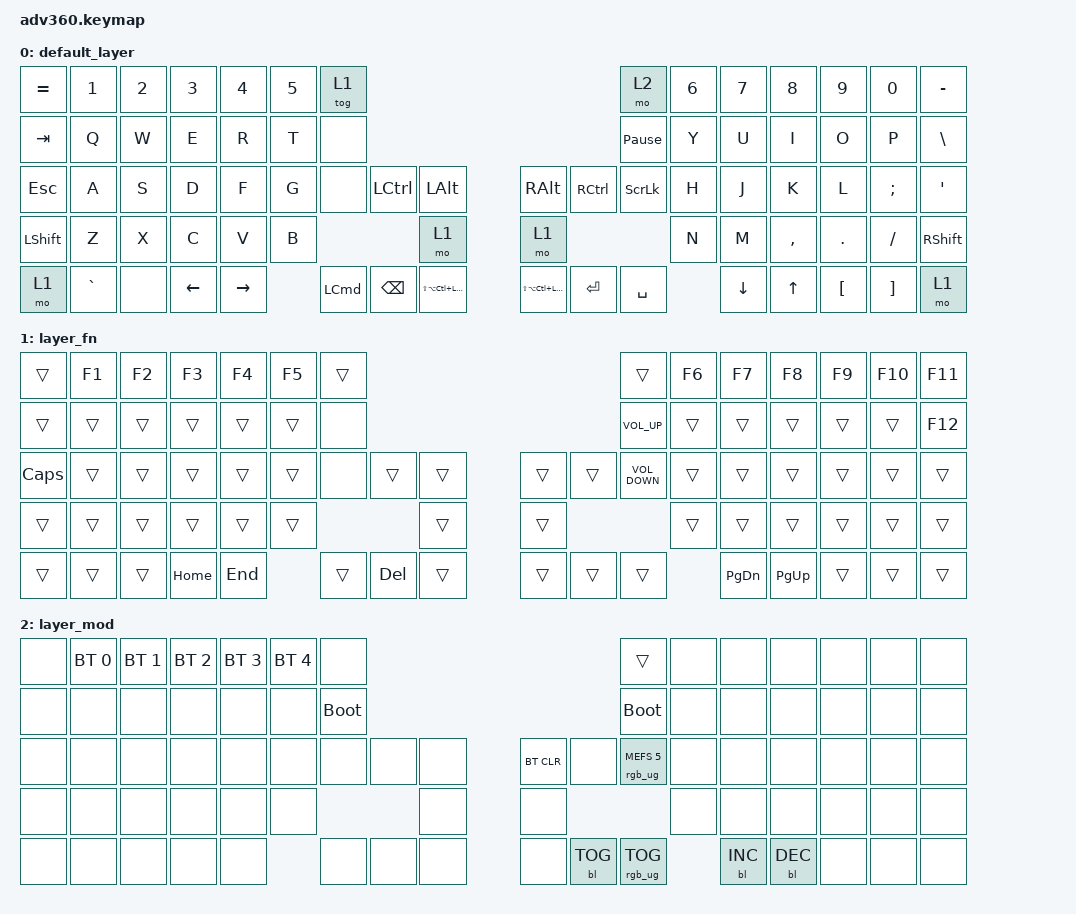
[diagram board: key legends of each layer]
/*
 * Copyright (c) 2020 The ZMK Contributors
 *
 * SPDX-License-Identifier: MIT
 */
/* THIS FILE WAS GENERATED!
 *
 * This file was generated automatically. You may or may not want to
 * edit it directly.
 */

#include <behaviors.dtsi>
#include <dt-bindings/zmk/backlight.h>
#include <dt-bindings/zmk/bt.h>
#include <dt-bindings/zmk/keys.h>
#include <dt-bindings/zmk/rgb.h>

/ {
    behaviors {
        #include "macros.dtsi"
    #include "version.dtsi"

        hm: homerow_mods {
            compatible = "zmk,behavior-hold-tap";
            label = "HOMEROW_MODS";
            #binding-cells = <2>;
            tapping-term-ms = <200>;
            quick_tap_ms = <175>;
            flavor = "tap-preferred";
            bindings = <&kp>, <&kp>;
        };
    };

    keymap {
        compatible = "zmk,keymap";

        default_layer {
            bindings = <
&kp EQUAL  &kp N1     &kp N2  &kp N3    &kp N4     &kp N5  &tog 1                                                                                      &mo 2            &kp N6  &kp N7    &kp N8     &kp N9    &kp N0    &kp MINUS
&kp TAB    &kp Q      &kp W   &kp E     &kp R      &kp T   &none                                                                                       &kp PAUSE_BREAK  &kp Y   &kp U     &kp I      &kp O     &kp P     &kp BSLH
&kp ESC    &kp A      &kp S   &kp D     &kp F      &kp G   &none             &kp LCTRL      &kp LALT                  &kp RALT              &kp RCTRL  &kp SCROLLLOCK   &kp H   &kp J     &kp K      &kp L     &kp SEMI  &kp SQT
&kp LSHFT  &kp Z      &kp X   &kp C     &kp V      &kp B                                    &mo 1                     &mo 1                                             &kp N   &kp M     &kp COMMA  &kp DOT   &kp FSLH  &kp RSHFT
&mo 1      &kp GRAVE  &none   &kp LEFT  &kp RIGHT          &kp LEFT_COMMAND  &kp BACKSPACE  &kp LS(LA(LC(LGUI)))      &kp LS(LA(LC(LGUI)))  &kp ENTER  &kp SPACE                &kp DOWN  &kp UP     &kp LBKT  &kp RBKT  &mo 1
            >;
        };

        layer_fn {
            bindings = <
&trans        &kp F1  &kp F2  &kp F3    &kp F4   &kp F5  &trans                                          &trans             &kp F6  &kp F7         &kp F8       &kp F9  &kp F10  &kp F11
&trans        &trans  &trans  &trans    &trans   &trans  &none                                           &kp C_VOLUME_UP    &trans  &trans         &trans       &trans  &trans   &kp F12
&kp CAPSLOCK  &trans  &trans  &trans    &trans   &trans  &none   &trans      &trans      &trans  &trans  &kp C_VOLUME_DOWN  &trans  &trans         &trans       &trans  &trans   &trans
&trans        &trans  &trans  &trans    &trans   &trans                      &trans      &trans                             &trans  &trans         &trans       &trans  &trans   &trans
&trans        &trans  &trans  &kp HOME  &kp END          &trans  &kp DELETE  &trans      &trans  &trans  &trans                     &kp PAGE_DOWN  &kp PAGE_UP  &trans  &trans   &trans
            >;
        };

        layer_mod {
            bindings = <
&none  &bt BT_SEL 0  &bt BT_SEL 1  &bt BT_SEL 2  &bt BT_SEL 3  &bt BT_SEL 4  &none                                                  &trans                  &none  &none       &none       &none  &none  &none
&none  &none         &none         &none         &none         &none         &bootloader                                            &bootloader             &none  &none       &none       &none  &none  &none
&none  &none         &none         &none         &none         &none         &none        &none  &none      &bt BT_CLR  &none       &rgb_ug RGB_MEFS_CMD 5  &none  &none       &none       &none  &none  &none
&none  &none         &none         &none         &none         &none                             &none      &none                                           &none  &none       &none       &none  &none  &none
&none  &none         &none         &none         &none                       &none        &none  &none      &none       &bl BL_TOG  &rgb_ug RGB_TOG                &bl BL_INC  &bl BL_DEC  &none  &none  &none
            >;
        };
    };
};
